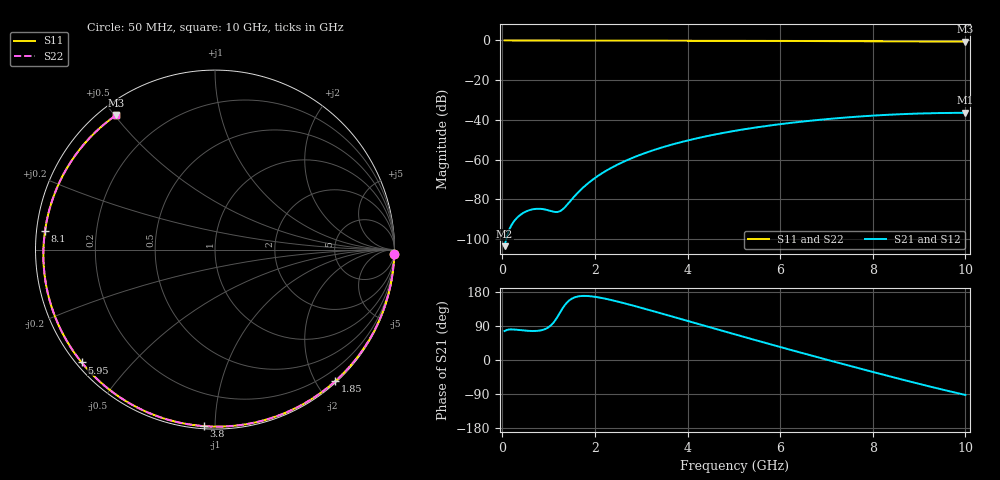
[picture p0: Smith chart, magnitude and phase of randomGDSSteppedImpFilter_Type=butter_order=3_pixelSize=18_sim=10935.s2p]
! freq	dB(S11)	phase(S11)	dB(S12)	phase(S12)
!  dB(S21)	phase(S21)	dB(S22)	phase(S22)
!S-par simulation data
#  GHz  S  DB  R 50
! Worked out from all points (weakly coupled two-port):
!   200 points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, 50 MHz to 10 GHz, reference 50 ohm
!   highest |S21| = -36.42 dB at 10 GHz (marker M1); lowest = -103.5 dB at 50 MHz (marker M2)
!   lowest |S11| = -0.6 dB at 10 GHz (marker M3), VSWR 27.54, Z = 2.28 + j25.3 ohm
!   |S11| at or under -10 dB: nowhere
!   |S22| runs from -0.6 to 0.0 dB; largest |S21 - S12| = 0
!   S11 on the Smith chart (normalised r, x): 50 MHz: 1, -90; 1.85 GHz: 0.02, -2.27; 3.8 GHz: 0.01, -0.94; 5.95 GHz: 0.02, -0.37; 8.1 GHz: 0.02, +0.05; 10 GHz: 0.05, +0.51
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0.05  -0.00 -1.3  -103.52 76.5  -103.52 76.5  -0.00 -1.3
0.4  -0.02 -10.5  -87.60 78.7  -87.60 78.7  -0.02 -10.5
0.75  -0.03 -19.6  -84.71 76.8  -84.71 76.8  -0.03 -19.6
1.5  -0.05 -38.8  -79.97 161.7  -79.97 161.7  -0.05 -38.8
1.75  -0.06 -45.1  -73.92 169.1  -73.92 169.1  -0.06 -45.1
1.85  -0.06 -47.6  -71.90 168.8  -71.90 168.8  -0.06 -47.6
2.15  -0.07 -55.0  -66.88 163.6  -66.88 163.6  -0.07 -55.0
2.5  -0.08 -63.4  -62.34 153.9  -62.34 153.9  -0.08 -63.4
2.9  -0.09 -72.9  -58.25 141.1  -58.25 141.1  -0.09 -72.9
3.4  -0.11 -84.5  -54.19 124.0  -54.19 124.0  -0.11 -84.5
3.8  -0.12 -93.6  -51.53 110.2  -51.53 110.2  -0.12 -93.6
4.4  -0.15 -106.8  -48.23 89.3  -48.23 89.3  -0.15 -106.8
5.05  -0.18 -120.8  -45.36 66.7  -45.36 66.7  -0.18 -120.8
5.95  -0.24 -139.8  -42.27 36.0  -42.27 36.0  -0.24 -139.8
6.7  -0.29 -155.6  -40.28 10.9  -40.28 10.9  -0.29 -155.6
7.4  -0.35 -170.6  -38.81 -12.1  -38.81 -12.1  -0.35 -170.6
8.1  -0.42 173.8  -37.69 -34.7  -37.69 -34.7  -0.42 173.8
8.35  -0.45 168.1  -37.38 -42.7  -37.38 -42.7  -0.45 168.1
8.8  -0.49 157.4  -36.92 -56.8  -36.92 -56.8  -0.49 157.4
9.2  -0.54 147.4  -36.65 -69.0  -36.65 -69.0  -0.54 147.4
9.6  -0.59 137.1  -36.48 -80.9  -36.48 -80.9  -0.59 137.1
10  -0.63 126.2  -36.42 -92.2  -36.42 -92.2  -0.63 126.2
